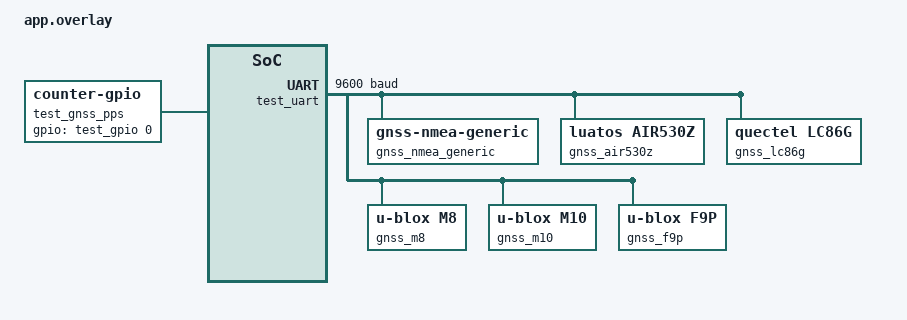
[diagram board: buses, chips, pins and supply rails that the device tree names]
/*
 * Copyright 2023 Google LLC
 *
 * SPDX-License-Identifier: Apache-2.0
 */

#include <zephyr/dt-bindings/counter/counter-capture.h>
#include <zephyr/dt-bindings/gpio/gpio.h>

/ {
	test_gnss_pps: counter-gpio {
		compatible = "zephyr,counter-gpio";
		gpios = <&test_gpio 0 GPIO_ACTIVE_HIGH>;
		#counter-capture-cells = <2>;
	};

	test {
		#address-cells = <1>;
		#size-cells = <1>;

		test_uart: uart@0 {
			compatible = "vnd,serial";
			reg = <0x0 0x1000>;
			current-speed = <9600>;
			status = "okay";

			gnss_nmea_generic: gnss-nmea-generic {
				compatible = "gnss-nmea-generic";
				counter-captures = <&test_gnss_pps 0 COUNTER_CAPTURE_RISING_EDGE>;
			};

			gnss_air530z: air530z {
				compatible = "luatos,air530z";
			};

			gnss_lc86g: lc86g {
				compatible = "quectel,lc86g";
				pps-mode = "GNSS_PPS_MODE_ENABLED";
			};

			gnss_m8: m8 {
				compatible = "u-blox,m8";
			};

			gnss_m10: m10 {
				compatible = "u-blox,m10";
			};

			gnss_f9p: f9p {
				compatible = "u-blox,f9p";
			};
		};

		test_gpio: gpio@deadbeef {
			compatible = "vnd,gpio";
			reg = <0xdeadbeef 0x1000>;
			gpio-controller;
			#gpio-cells = <0x2>;
			status = "okay";
		};
	};
};
